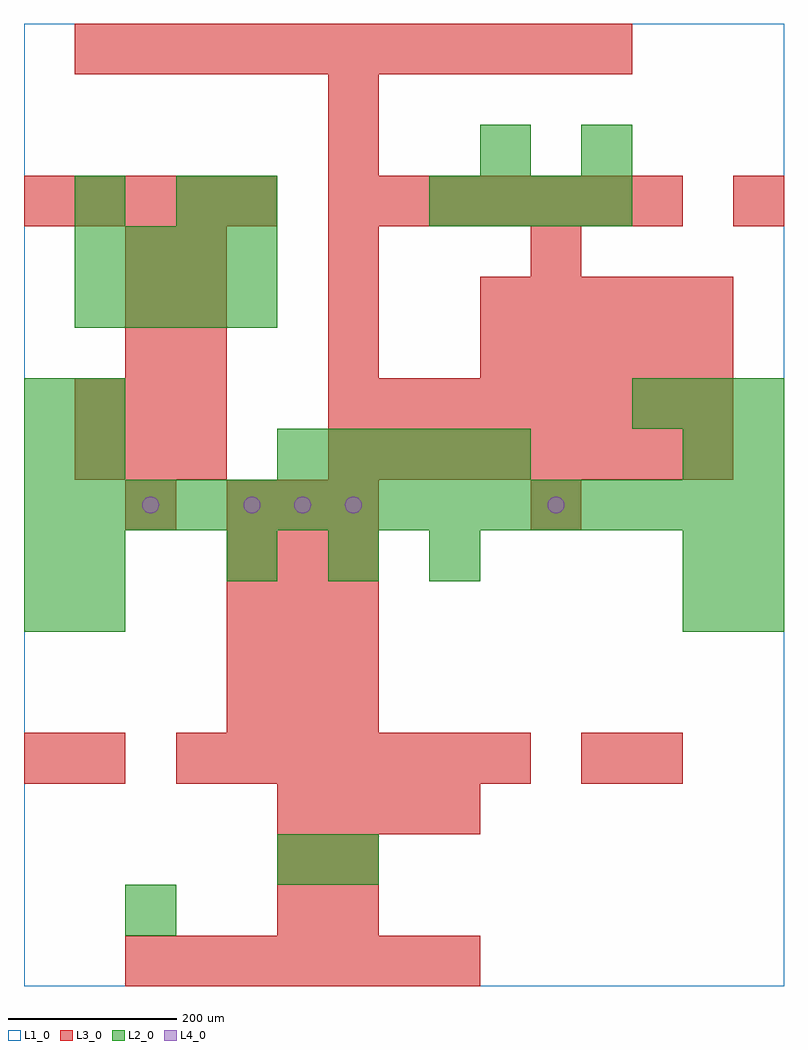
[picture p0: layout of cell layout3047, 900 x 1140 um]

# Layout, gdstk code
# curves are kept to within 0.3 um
import gdstk
lib = gdstk.Library(unit=1e-6, precision=1e-09)
def R(c, l, rs):  # rectangles x0, y0, x1, y1
    for r in rs: c.add(gdstk.rectangle(r[:2], r[2:], *l))
def A(c, l, x, y, w, h, nx, ny, dx, dy):  # array of equal rectangles
    R(c, l, [(x+i*dx, y+j*dy, x+i*dx+w, y+j*dy+h) for i in range(nx) for j in range(ny)])
def P(c, l, *ps):  # polygons
    for p in ps: c.add(gdstk.Polygon(p, *l))
L1_0 = (1, 0)
L2_0 = (2, 0)
L3_0 = (3, 0)
L4_0 = (4, 0)

layout3047 = lib.new_cell('layout3047')
R(layout3047, L1_0, [(0,0,900,1140)])
A(layout3047, L2_0, 240, 480, 60, 60, 3, 1, 120, 0)
A(layout3047, L2_0, 0, 540, 60, 60, 15, 1, 60, 0)
A(layout3047, L2_0, 300, 600, 60, 60, 5, 1, 60, 0)
A(layout3047, L2_0, 720, 660, 60, 60, 3, 1, 60, 0)
A(layout3047, L2_0, 60, 780, 60, 60, 4, 2, 60, 60)
A(layout3047, L2_0, 480, 900, 60, 60, 4, 1, 60, 0)
R(layout3047, L2_0, [(120,60,180,120), (300,120,360,180), (360,120,420,180), (0,420,60,480), (60,420,120,480), (780,420,840,480), (840,420,900,480), (0,480,60,540), (60,480,120,540), (780,480,840,540), (840,480,900,540), (0,600,60,660), (60,600,120,660), (780,600,840,660), (840,600,900,660), (0,660,60,720), (60,660,120,720), (60,900,120,960), (180,900,240,960), (240,900,300,960), (540,960,600,1020), (660,960,720,1020)])
A(layout3047, L3_0, 120, 0, 60, 60, 7, 1, 60, 0)
A(layout3047, L3_0, 300, 180, 60, 60, 4, 1, 60, 0)
A(layout3047, L3_0, 180, 240, 60, 60, 7, 1, 60, 0)
A(layout3047, L3_0, 240, 300, 60, 60, 3, 5, 60, 60)
A(layout3047, L3_0, 60, 600, 60, 60, 3, 2, 60, 60)
A(layout3047, L3_0, 360, 600, 60, 60, 8, 2, 60, 60)
A(layout3047, L3_0, 120, 720, 60, 60, 1, 3, 0, 60)
A(layout3047, L3_0, 180, 720, 60, 60, 3, 2, 180, 60)
A(layout3047, L3_0, 600, 720, 60, 60, 4, 2, 60, 60)
A(layout3047, L3_0, 0, 900, 60, 60, 5, 1, 60, 0)
A(layout3047, L3_0, 360, 900, 60, 60, 7, 1, 60, 0)
A(layout3047, L3_0, 60, 1080, 60, 60, 11, 1, 60, 0)
R(layout3047, L3_0, [(300,60,360,120), (360,60,420,120), (300,120,360,180), (360,120,420,180), (0,240,60,300), (60,240,120,300), (660,240,720,300), (720,240,780,300), (120,540,180,600), (600,540,660,600), (180,840,240,900), (360,840,420,900), (600,840,660,900), (840,900,900,960), (360,960,420,1020), (360,1020,420,1080)])
P(layout3047, L4_0, [(160,570),(159.239,573.827),(157.071,577.071),(153.827,579.239),(150,580),(146.173,579.239),(142.929,577.071),(140.761,573.827),(140,570),(140.761,566.173),(142.929,562.929),(146.173,560.761),(150,560),(153.827,560.761),(157.071,562.929),(159.239,566.173)],
  [(280,570),(279.239,573.827),(277.071,577.071),(273.827,579.239),(270,580),(266.173,579.239),(262.929,577.071),(260.761,573.827),(260,570),(260.761,566.173),(262.929,562.929),(266.173,560.761),(270,560),(273.827,560.761),(277.071,562.929),(279.239,566.173)],
  [(340,570),(339.239,573.827),(337.071,577.071),(333.827,579.239),(330,580),(326.173,579.239),(322.929,577.071),(320.761,573.827),(320,570),(320.761,566.173),(322.929,562.929),(326.173,560.761),(330,560),(333.827,560.761),(337.071,562.929),(339.239,566.173)],
  [(400,570),(399.239,573.827),(397.071,577.071),(393.827,579.239),(390,580),(386.173,579.239),(382.929,577.071),(380.761,573.827),(380,570),(380.761,566.173),(382.929,562.929),(386.173,560.761),(390,560),(393.827,560.761),(397.071,562.929),(399.239,566.173)],
  [(640,570),(639.239,573.827),(637.071,577.071),(633.827,579.239),(630,580),(626.173,579.239),(622.929,577.071),(620.761,573.827),(620,570),(620.761,566.173),(622.929,562.929),(626.173,560.761),(630,560),(633.827,560.761),(637.071,562.929),(639.239,566.173)])

lib.write_gds('layout3047.gds')
